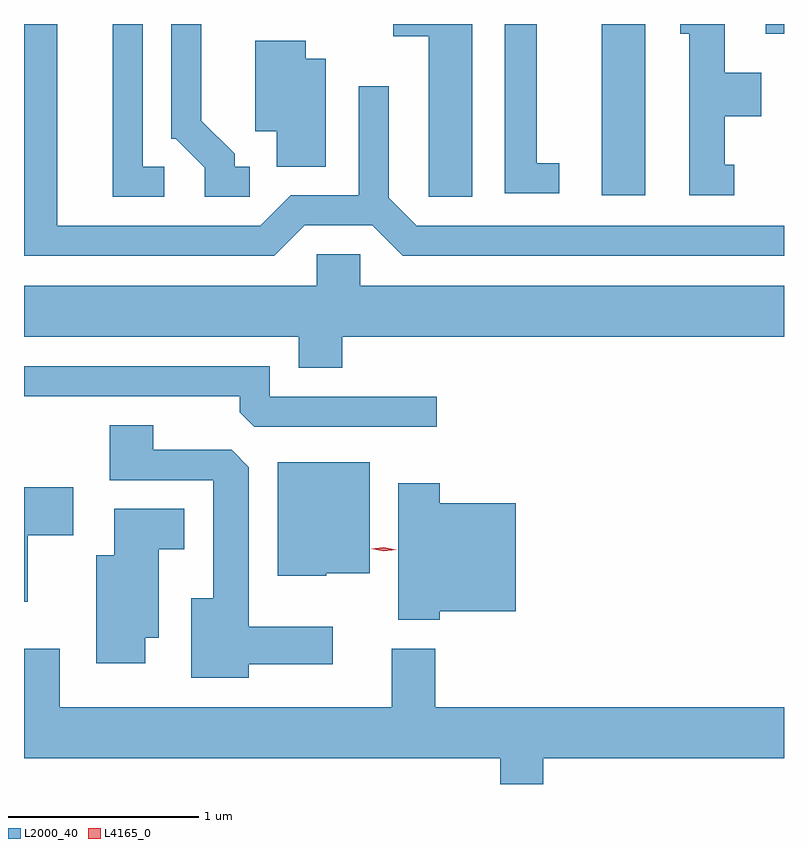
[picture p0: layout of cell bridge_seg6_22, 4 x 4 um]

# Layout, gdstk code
import gdstk
lib = gdstk.Library(unit=1e-6, precision=1e-09)
def R(c, l, rs):  # rectangles x0, y0, x1, y1
    for r in rs: c.add(gdstk.rectangle(r[:2], r[2:], *l))
def P(c, l, *ps):  # polygons
    for p in ps: c.add(gdstk.Polygon(p, *l))
L2000_40 = (2000, 40)
L4165_0 = (4165, 0)

bridge_seg6_22 = lib.new_cell('bridge_seg6_22')
R(bridge_seg6_22, L2000_40, [(1842.496,1641.801,1842.724,1642.701), (1843.358,1642.651,1843.455,1642.701)])
P(bridge_seg6_22, L2000_40, [(1841.814,1642.701),(1841.398,1642.701),(1841.398,1642.636),(1841.586,1642.636),(1841.586,1641.791),(1841.814,1641.791)],
  [(1843.193,1641.959),(1843.144,1641.959),(1843.144,1642.216),(1843.334,1642.216),(1843.334,1642.444),(1843.144,1642.444),(1843.144,1642.701),(1842.908,1642.701),(1842.908,1642.651),(1842.956,1642.651),(1842.956,1641.801),(1843.193,1641.801)],
  [(1840.643,1641.949),(1840.564,1641.949),(1840.564,1642.017),(1840.389,1642.192),(1840.389,1642.701),(1840.231,1642.701),(1840.231,1642.096),(1840.254,1642.096),(1840.406,1641.944),(1840.406,1641.791),(1840.643,1641.791)],
  [(1842.273,1641.969),(1842.154,1641.969),(1842.154,1642.701),(1841.986,1642.701),(1841.986,1641.811),(1842.273,1641.811)],
  [(1840.193,1641.949),(1840.079,1641.949),(1840.079,1642.701),(1839.921,1642.701),(1839.921,1641.791),(1840.193,1641.791)],
  [(1840.932,1641.641),(1841.289,1641.641),(1841.449,1641.481),(1843.455,1641.481),(1843.455,1641.639),(1841.522,1641.639),(1841.374,1641.787),(1841.374,1642.373),(1841.216,1642.373),(1841.216,1641.799),(1840.859,1641.799),(1840.699,1641.639),(1839.629,1641.639),(1839.629,1642.701),(1839.455,1642.701),(1839.455,1641.481),(1840.772,1641.481)],
  [(1841.044,1642.519),(1840.939,1642.519),(1840.939,1642.614),(1840.671,1642.614),(1840.671,1642.136),(1840.786,1642.136),(1840.786,1641.951),(1841.044,1641.951)],
  [(1841.129,1641.056),(1843.455,1641.056),(1843.455,1641.324),(1841.224,1641.324),(1841.224,1641.489),(1840.996,1641.489),(1840.996,1641.324),(1839.455,1641.324),(1839.455,1641.056),(1840.901,1641.056),(1840.901,1640.891),(1841.129,1640.891)],
  [(1841.628,1640.739),(1840.749,1640.739),(1840.749,1640.899),(1839.455,1640.899),(1839.455,1640.741),(1840.591,1640.741),(1840.591,1640.657),(1840.667,1640.581),(1841.628,1640.581)],
  [(1840.639,1639.331),(1841.079,1639.331),(1841.079,1639.529),(1840.639,1639.529),(1840.639,1640.369),(1840.549,1640.459),(1840.134,1640.459),(1840.134,1640.589),(1839.906,1640.589),(1839.906,1640.301),(1840.451,1640.301),(1840.451,1639.679),(1840.336,1639.679),(1840.336,1639.261),(1840.639,1639.261)],
  [(1841.045,1639.811),(1841.274,1639.811),(1841.274,1640.394),(1840.791,1640.394),(1840.791,1639.796),(1841.045,1639.796)],
  [(1841.644,1639.611),(1842.044,1639.611),(1842.044,1640.179),(1841.644,1640.179),(1841.644,1640.284),(1841.426,1640.284),(1841.426,1639.566),(1841.644,1639.566)],
  [(1839.474,1640.011),(1839.714,1640.011),(1839.714,1640.264),(1839.455,1640.264),(1839.455,1639.661),(1839.474,1639.661)],
  [(1840.094,1639.471),(1840.164,1639.471),(1840.164,1639.936),(1840.299,1639.936),(1840.299,1640.149),(1839.931,1640.149),(1839.931,1639.904),(1839.836,1639.904),(1839.836,1639.336),(1840.094,1639.336)],
  [(1842.189,1638.836),(1843.455,1638.836),(1843.455,1639.104),(1841.619,1639.104),(1841.619,1639.414),(1841.391,1639.414),(1841.391,1639.104),(1839.644,1639.104),(1839.644,1639.414),(1839.455,1639.414),(1839.455,1638.836),(1841.961,1638.836),(1841.961,1638.701),(1842.189,1638.701)])
P(bridge_seg6_22, L4165_0, [(1841.348,1639.927),(1841.282,1639.938),(1841.282,1639.938),(1841.282,1639.939),(1841.349,1639.946),(1841.414,1639.935),(1841.415,1639.935),(1841.414,1639.934)])

lib.write_gds('bridge_seg6_22.gds')
